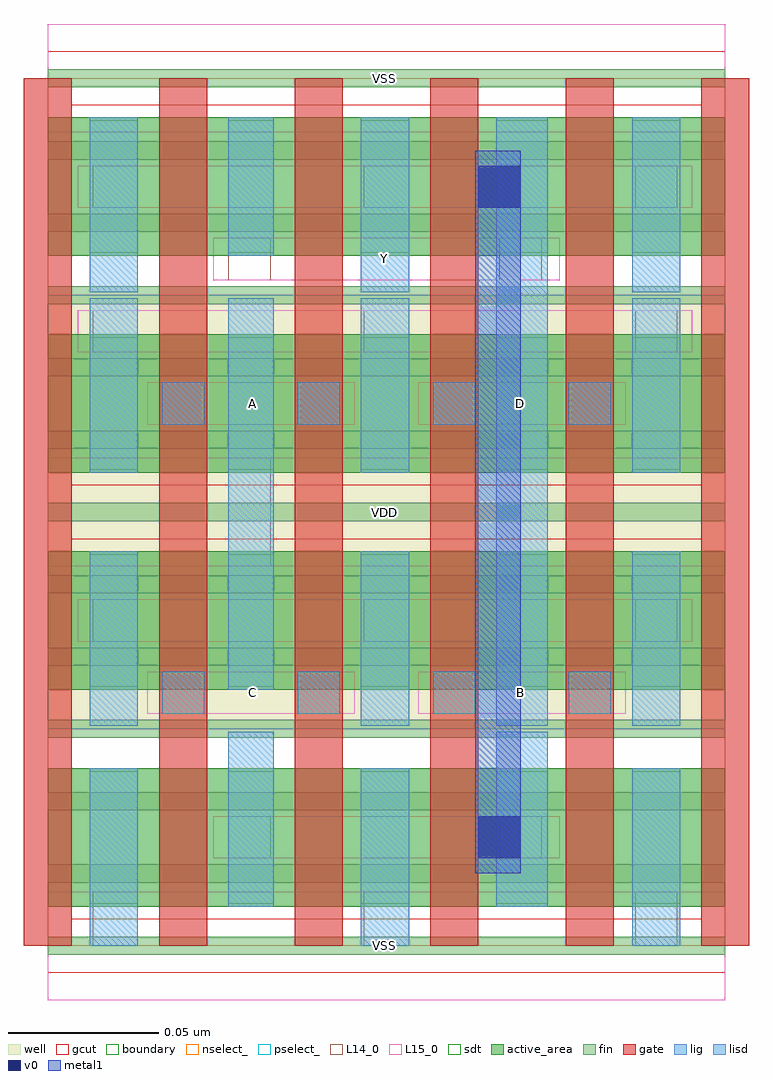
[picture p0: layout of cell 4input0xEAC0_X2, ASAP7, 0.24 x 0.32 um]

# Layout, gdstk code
import gdstk
lib = gdstk.Library(unit=1e-6, precision=1e-09)
def R(c, l, rs):  # rectangles x0, y0, x1, y1
    for r in rs: c.add(gdstk.rectangle(r[:2], r[2:], *l))
def A(c, l, x, y, w, h, nx, ny, dx, dy):  # array of equal rectangles
    R(c, l, [(x+i*dx, y+j*dy, x+i*dx+w, y+j*dy+h) for i in range(nx) for j in range(ny)])
def P(c, l, *ps):  # polygons
    for p in ps: c.add(gdstk.Polygon(p, *l))
well = (1, 0)
fin = (2, 0)
gate = (7, 0)
gcut = (10, 0)
active_area = (11, 0)
nselect_ = (12, 0)
pselect_ = (13, 0)
L14_0 = (14, 0)
L15_0 = (15, 0)
lig = (16, 0)
lisd = (17, 0)
v0 = (18, 0)
metal1 = (19, 0)
sdt = (88, 0)
boundary = (100, 0)

c_4input0xeac0_x2 = lib.new_cell('4input0xEAC0_X2')
R(c_4input0xeac0_x2, well, [(0,0.072,0.225,0.144), (0,0.144,0.225,0.216)])
A(c_4input0xeac0_x2, fin, 0, -0.003, 0.225, 0.006, 1, 13, 0, 0.024)
A(c_4input0xeac0_x2, gate, -0.008, 0, 0.016, 0.288, 6, 1, 0.045, 0)
P(c_4input0xeac0_x2, gcut, [(0,-0.009),(0,0),(-0.008,0),(-0.008,0.135),(0.008,0.135),(0.008,0.009),(0.217,0.009),(0.217,0.135),(-0.008,0.135),(-0.008,0.279),(0.008,0.279),(0.008,0.153),(0.217,0.153),(0.217,0.279),(-0.008,0.279),(-0.008,0.288),(0,0.288),(0,0.297),(0.225,0.297),(0.225,0.288),(0.233,0.288),(0.233,0),(0.225,0),(0.225,-0.009)])
A(c_4input0xeac0_x2, active_area, 0, 0.013, 0.225, 0.046, 1, 4, 0, 0.072)
R(c_4input0xeac0_x2, nselect_, [(0,0,0.225,0.072), (0,0.216,0.225,0.288)])
R(c_4input0xeac0_x2, pselect_, [(0,0.072,0.225,0.144), (0,0.144,0.225,0.216)])
A(c_4input0xeac0_x2, L14_0, 0.038, 0.077, 0.014, 0.014, 4, 2, 0.045, 0.096)
R(c_4input0xeac0_x2, L14_0, [(0.015,0,0.03,0.018), (0.105,0,0.12,0.018), (0.195,0,0.209,0.018), (0.06,0.029,0.074,0.043), (0.15,0.029,0.164,0.043), (0.015,0.101,0.03,0.115), (0.105,0.101,0.12,0.115), (0.195,0.101,0.209,0.115), (0.06,0.126,0.074,0.144), (0.06,0.144,0.074,0.162), (0.015,0.197,0.03,0.211), (0.105,0.197,0.12,0.211), (0.195,0.197,0.209,0.211), (0.06,0.221,0.074,0.235), (0.15,0.221,0.164,0.235), (0.015,0.245,0.03,0.259), (0.105,0.245,0.12,0.259), (0.195,0.245,0.209,0.259)])
A(c_4input0xeac0_x2, L15_0, 0, -0.018, 0.225, 0.036, 1, 3, 0, 0.144)
R(c_4input0xeac0_x2, L15_0, [(0.055,0.029,0.17,0.043), (0.033,0.077,0.102,0.091), (0.123,0.077,0.192,0.091), (0.01,0.101,0.214,0.115), (0.033,0.173,0.102,0.187), (0.123,0.173,0.192,0.187), (0.01,0.197,0.214,0.211), (0.055,0.221,0.17,0.235), (0.01,0.245,0.214,0.259)])
A(c_4input0xeac0_x2, lig, 0.038, 0.077, 0.014, 0.014, 4, 2, 0.045, 0.096)
A(c_4input0xeac0_x2, lisd, 0.014, 0, 0.016, 0.059, 3, 1, 0.09, 0)
A(c_4input0xeac0_x2, lisd, 0.014, 0.073, 0.016, 0.058, 3, 2, 0.09, 0.084)
A(c_4input0xeac0_x2, lisd, 0.014, 0.217, 0.016, 0.058, 3, 1, 0.09, 0)
R(c_4input0xeac0_x2, lisd, [(0.06,0.013,0.075,0.071), (0.149,0.013,0.166,0.071), (0.149,0.073,0.166,0.275), (0.06,0.085,0.075,0.215), (0.06,0.229,0.075,0.275)])
R(c_4input0xeac0_x2, v0, [(0.143,0.029,0.157,0.043), (0.143,0.245,0.157,0.259)])
R(c_4input0xeac0_x2, metal1, [(0.142,0.024,0.157,0.264)])
A(c_4input0xeac0_x2, sdt, 0.014, 0.014, 0.016, 0.044, 3, 4, 0.09, 0.072)
A(c_4input0xeac0_x2, sdt, 0.06, 0.014, 0.015, 0.044, 1, 4, 0, 0.072)
A(c_4input0xeac0_x2, sdt, 0.149, 0.014, 0.017, 0.044, 1, 4, 0, 0.072)
R(c_4input0xeac0_x2, boundary, [(0,0,0.225,0.288)])
c_4input0xeac0_x2.add(gdstk.Label('Y', (0.112,0.228), layer=15, texttype=251))
c_4input0xeac0_x2.add(gdstk.Label('VSS', (0.112,0), layer=15, texttype=251))
c_4input0xeac0_x2.add(gdstk.Label('VDD', (0.112,0.144), layer=15, texttype=251))
c_4input0xeac0_x2.add(gdstk.Label('VDD', (0.112,0.144), layer=15, texttype=251))
c_4input0xeac0_x2.add(gdstk.Label('VSS', (0.112,0.288), layer=15, texttype=251))
c_4input0xeac0_x2.add(gdstk.Label('A', (0.068,0.18), layer=15, texttype=251))
c_4input0xeac0_x2.add(gdstk.Label('VSS', (0.112,0), layer=15, texttype=251))
c_4input0xeac0_x2.add(gdstk.Label('VDD', (0.112,0.144), layer=15, texttype=251))
c_4input0xeac0_x2.add(gdstk.Label('VDD', (0.112,0.144), layer=15, texttype=251))
c_4input0xeac0_x2.add(gdstk.Label('VSS', (0.112,0.288), layer=15, texttype=251))
c_4input0xeac0_x2.add(gdstk.Label('D', (0.157,0.18), layer=15, texttype=251))
c_4input0xeac0_x2.add(gdstk.Label('VSS', (0.112,0), layer=15, texttype=251))
c_4input0xeac0_x2.add(gdstk.Label('VDD', (0.112,0.144), layer=15, texttype=251))
c_4input0xeac0_x2.add(gdstk.Label('VDD', (0.112,0.144), layer=15, texttype=251))
c_4input0xeac0_x2.add(gdstk.Label('VSS', (0.112,0.288), layer=15, texttype=251))
c_4input0xeac0_x2.add(gdstk.Label('C', (0.068,0.084), layer=15, texttype=251))
c_4input0xeac0_x2.add(gdstk.Label('VSS', (0.112,0), layer=15, texttype=251))
c_4input0xeac0_x2.add(gdstk.Label('VDD', (0.112,0.144), layer=15, texttype=251))
c_4input0xeac0_x2.add(gdstk.Label('VDD', (0.112,0.144), layer=15, texttype=251))
c_4input0xeac0_x2.add(gdstk.Label('VSS', (0.112,0.288), layer=15, texttype=251))
c_4input0xeac0_x2.add(gdstk.Label('B', (0.157,0.084), layer=15, texttype=251))
c_4input0xeac0_x2.add(gdstk.Label('VSS', (0.112,0), layer=15, texttype=251))
c_4input0xeac0_x2.add(gdstk.Label('VDD', (0.112,0.144), layer=15, texttype=251))
c_4input0xeac0_x2.add(gdstk.Label('VDD', (0.112,0.144), layer=15, texttype=251))
c_4input0xeac0_x2.add(gdstk.Label('VSS', (0.112,0.288), layer=15, texttype=251))
c_4input0xeac0_x2.add(gdstk.Label('VSS', (0.112,0), layer=3, texttype=251))
c_4input0xeac0_x2.add(gdstk.Label('VSS', (0.112,0.288), layer=3, texttype=251))
c_4input0xeac0_x2.add(gdstk.Label('VSS', (0.112,0), layer=3, texttype=251))
c_4input0xeac0_x2.add(gdstk.Label('VSS', (0.112,0.288), layer=3, texttype=251))
c_4input0xeac0_x2.add(gdstk.Label('VSS', (0.112,0), layer=3, texttype=251))
c_4input0xeac0_x2.add(gdstk.Label('VSS', (0.112,0.288), layer=3, texttype=251))
c_4input0xeac0_x2.add(gdstk.Label('VSS', (0.112,0), layer=3, texttype=251))
c_4input0xeac0_x2.add(gdstk.Label('VSS', (0.112,0.288), layer=3, texttype=251))
c_4input0xeac0_x2.add(gdstk.Label('VSS', (0.112,0), layer=3, texttype=251))
c_4input0xeac0_x2.add(gdstk.Label('VSS', (0.112,0.288), layer=3, texttype=251))
c_4input0xeac0_x2.add(gdstk.Label('VDD', (0.112,0.144), layer=1, texttype=251))
c_4input0xeac0_x2.add(gdstk.Label('VDD', (0.112,0.144), layer=1, texttype=251))
c_4input0xeac0_x2.add(gdstk.Label('VDD', (0.112,0.144), layer=1, texttype=251))
c_4input0xeac0_x2.add(gdstk.Label('VDD', (0.112,0.144), layer=1, texttype=251))
c_4input0xeac0_x2.add(gdstk.Label('VDD', (0.112,0.144), layer=1, texttype=251))
c_4input0xeac0_x2.add(gdstk.Label('VDD', (0.112,0.144), layer=1, texttype=251))
c_4input0xeac0_x2.add(gdstk.Label('VDD', (0.112,0.144), layer=1, texttype=251))
c_4input0xeac0_x2.add(gdstk.Label('VDD', (0.112,0.144), layer=1, texttype=251))
c_4input0xeac0_x2.add(gdstk.Label('VDD', (0.112,0.144), layer=1, texttype=251))
c_4input0xeac0_x2.add(gdstk.Label('VDD', (0.112,0.144), layer=1, texttype=251))

lib.write_gds('4input0xEAC0_X2.gds')
